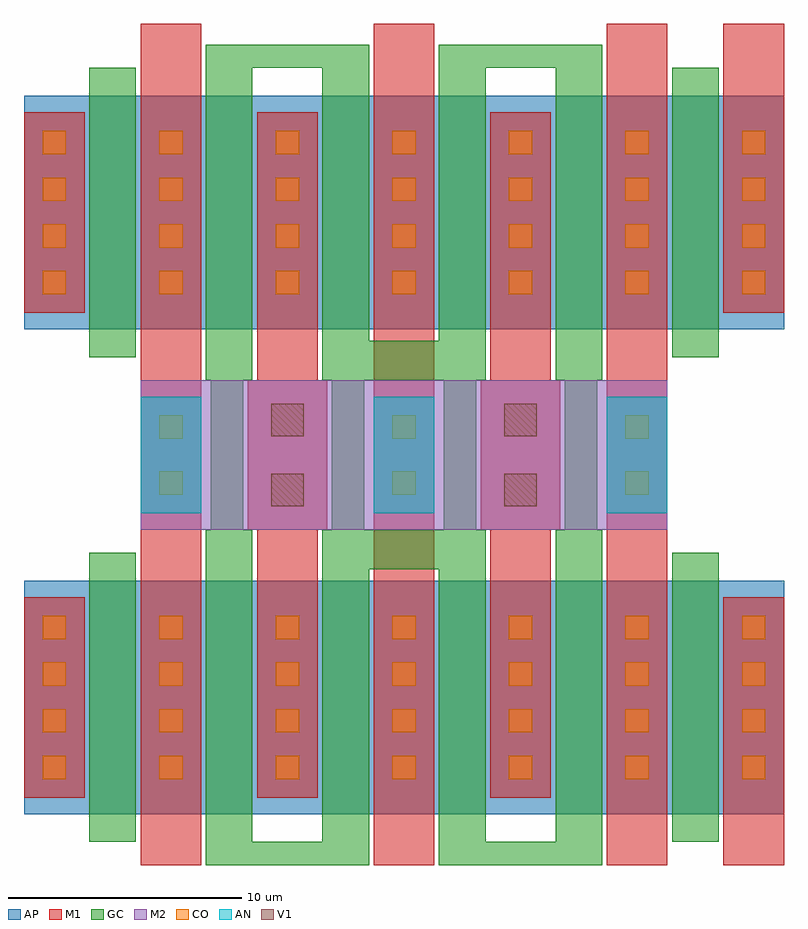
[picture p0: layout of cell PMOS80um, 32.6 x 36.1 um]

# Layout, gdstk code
from math import pi, radians
import gdstk
lib = gdstk.Library(unit=1e-6, precision=1e-09)
def R(c, l, rs):  # rectangles x0, y0, x1, y1
    for r in rs: c.add(gdstk.rectangle(r[:2], r[2:], *l))
def A(c, l, x, y, w, h, nx, ny, dx, dy):  # array of equal rectangles
    R(c, l, [(x+i*dx, y+j*dy, x+i*dx+w, y+j*dy+h) for i in range(nx) for j in range(ny)])
AP = (3, 1)
AN = (3, 2)
GC = (8, 1)
CO = (11, 0)
M1 = (13, 0)
V1 = (19, 0)
M2 = (20, 0)

fet_p_2 = lib.new_cell('fet_p$2')
R(fet_p_2, AP, [(-3.8,-5,3.8,5)])
A(fet_p_2, CO, -3, -3.5, 1, 1, 1, 4, 0, 2)
A(fet_p_2, CO, 2, -3.5, 1, 1, 1, 4, 0, 2)
R(fet_p_2, M1, [(-3.8,-4.3,-1.2,4.3), (1.2,-4.3,3.8,4.3)])
fet_p_2.add(gdstk.FlexPath([(0,-6.2),(0,6.2)], 2, ends="flush", simple_path=True, layer=8, datatype=1))  # GC

fet_p_2_1 = lib.new_cell('fet_p$2$1')
R(fet_p_2_1, AP, [(-3.8,-5,3.8,5)])
A(fet_p_2_1, CO, -3, -3.5, 1, 1, 1, 4, 0, 2)
A(fet_p_2_1, CO, 2, -3.5, 1, 1, 1, 4, 0, 2)
R(fet_p_2_1, M1, [(-3.8,-4.3,-1.2,4.3), (1.2,-4.3,3.8,4.3)])
fet_p_2_1.add(gdstk.FlexPath([(0,-6.2),(0,6.2)], 2, ends="flush", simple_path=True, layer=8, datatype=1))  # GC

fet_p = lib.new_cell('fet_p')
R(fet_p, AP, [(-11.3,-5,11.3,5)])
A(fet_p, CO, -10.5, -3.5, 1, 1, 5, 4, 5, 2)
A(fet_p, M1, -11.3, -4.3, 2.6, 8.6, 5, 1, 5, 0)
fet_p.add(gdstk.FlexPath([(2.5,-6.2),(2.5,6.2)], 2, ends="flush", simple_path=True, layer=8, datatype=1))  # GC
fet_p.add(gdstk.FlexPath([(-2.5,-6.2),(-2.5,6.2)], 2, ends="flush", simple_path=True, layer=8, datatype=1))  # GC
fet_p.add(gdstk.FlexPath([(7.5,-6.2),(7.5,6.2)], 2, ends="flush", simple_path=True, layer=8, datatype=1))  # GC
fet_p.add(gdstk.FlexPath([(-7.5,-6.2),(-7.5,6.2)], 2, ends="flush", simple_path=True, layer=8, datatype=1))  # GC

via_1_1 = lib.new_cell('via_1$1')
R(via_1_1, M1, [(-1.7,-1.7,1.7,1.7)])
R(via_1_1, V1, [(-0.7,-0.7,0.7,0.7)])
R(via_1_1, M2, [(-1.7,-1.7,1.7,1.7)])

cont_n = lib.new_cell('cont_n')
R(cont_n, AN, [(-1.3,-1.3,1.3,1.3)])
R(cont_n, CO, [(-0.5,-0.5,0.5,0.5)])
R(cont_n, M1, [(-1.3,-1.3,1.3,1.3)])

pmos80um = lib.new_cell('PMOS80um')
R(pmos80um, GC, [(-28.5,-17.6,-21.5,-16.6), (-18.5,-17.6,-11.5,-16.6), (-23.5,-4.9,-16.5,-3.2), (-28.5,-4.2,-26.5,-3.2), (-13.5,-4.2,-11.5,-3.2), (-28.5,3.2,-26.5,4.2), (-23.5,3.2,-16.5,4.9), (-13.5,3.2,-11.5,4.2), (-28.5,16.6,-21.5,17.6), (-18.5,16.6,-11.5,17.6)])
pmos80um.add(gdstk.FlexPath([(-12.4,-3.2),(-12.4,3.2),(-12.4,3.2)], 1.4, ends="flush", simple_path=True, layer=8, datatype=1))  # GC
pmos80um.add(gdstk.FlexPath([(-22.4,-3.2),(-22.4,3.2),(-22.4,3.2)], 1.4, ends="flush", simple_path=True, layer=8, datatype=1))  # GC
pmos80um.add(gdstk.FlexPath([(-17.6,-3.2),(-17.6,3.2),(-17.6,3.2)], 1.4, ends="flush", simple_path=True, layer=8, datatype=1))  # GC
pmos80um.add(gdstk.FlexPath([(-27.6,-3.2),(-27.6,3.2),(-27.6,3.2)], 1.4, ends="flush", simple_path=True, layer=8, datatype=1))  # GC
pmos80um.add(gdstk.FlexPath([(-30,-17.6),(-30,-14.7)], 2.6, ends="flush", simple_path=True, layer=13, datatype=0))  # M1
pmos80um.add(gdstk.FlexPath([(-30,18.5),(-30,14.7)], 2.6, ends="flush", simple_path=True, layer=13, datatype=0))  # M1
pmos80um.add(gdstk.FlexPath([(-5,-17.6),(-5,-14.7)], 2.6, ends="flush", simple_path=True, layer=13, datatype=0))  # M1
pmos80um.add(gdstk.FlexPath([(-10,-17.6),(-10,-14.7)], 2.6, ends="flush", simple_path=True, layer=13, datatype=0))  # M1
pmos80um.add(gdstk.FlexPath([(-10,18.5),(-10,14.7)], 2.6, ends="flush", simple_path=True, layer=13, datatype=0))  # M1
pmos80um.add(gdstk.FlexPath([(-5,-17.6),(-5,-14.7)], 2.6, ends="flush", simple_path=True, layer=13, datatype=0))  # M1
pmos80um.add(gdstk.FlexPath([(-5,18.5),(-5,14.7)], 2.6, ends="flush", simple_path=True, layer=13, datatype=0))  # M1
pmos80um.add(gdstk.FlexPath([(-10,-17.6),(-10,-14.7)], 2.6, ends="flush", simple_path=True, layer=13, datatype=0))  # M1
pmos80um.add(gdstk.FlexPath([(-30,-17.6),(-30,-14.7)], 2.6, ends="flush", simple_path=True, layer=13, datatype=0))  # M1
pmos80um.add(gdstk.FlexPath([(-20,-17.6),(-20,-14.7)], 2.6, ends="flush", simple_path=True, layer=13, datatype=0))  # M1
pmos80um.add(gdstk.FlexPath([(-10,-6.1),(-10,-2.5),(-10,-2.5)], 2.6, ends="flush", simple_path=True, layer=13, datatype=0))  # M1
pmos80um.add(gdstk.FlexPath([(-10,2.5),(-10,6.1)], 2.6, ends="flush", simple_path=True, layer=13, datatype=0))  # M1
pmos80um.add(gdstk.FlexPath([(-20,-6.1),(-20,-2.5),(-20,-2.5)], 2.6, ends="flush", simple_path=True, layer=13, datatype=0))  # M1
pmos80um.add(gdstk.FlexPath([(-20,2.5),(-20,6.1)], 2.6, ends="flush", simple_path=True, layer=13, datatype=0))  # M1
pmos80um.add(gdstk.FlexPath([(-30,-6.1),(-30,-2.5),(-30,-2.5)], 2.6, ends="flush", simple_path=True, layer=13, datatype=0))  # M1
pmos80um.add(gdstk.FlexPath([(-30,2.5),(-30,6.1)], 2.6, ends="flush", simple_path=True, layer=13, datatype=0))  # M1
pmos80um.add(gdstk.FlexPath([(-30,14.7),(-30,18.5)], 2.6, ends="flush", simple_path=True, layer=13, datatype=0))  # M1
pmos80um.add(gdstk.FlexPath([(-20,18.5),(-20,14.7)], 2.6, ends="flush", simple_path=True, layer=13, datatype=0))  # M1
pmos80um.add(gdstk.FlexPath([(-10,18.5),(-10,14.7)], 2.6, ends="flush", simple_path=True, layer=13, datatype=0))  # M1
pmos80um.add(gdstk.FlexPath([(-15,-6.1),(-15,-3.2)], 2.6, ends="flush", simple_path=True, layer=13, datatype=0))  # M1
pmos80um.add(gdstk.FlexPath([(-15,3.2),(-15,6.1)], 2.6, ends="flush", simple_path=True, layer=13, datatype=0))  # M1
pmos80um.add(gdstk.FlexPath([(-25,3.2),(-25,6.1)], 2.6, ends="flush", simple_path=True, layer=13, datatype=0))  # M1
pmos80um.add(gdstk.FlexPath([(-25,-6.1),(-25,-3.2)], 2.6, ends="flush", simple_path=True, layer=13, datatype=0))  # M1
pmos80um.add(gdstk.FlexPath([(-31.3,0),(-8.7,0)], 6.4, ends="flush", simple_path=True, layer=20, datatype=0))  # M2
pmos80um.add(gdstk.Reference(fet_p_2, (-32.5,10.4)))
pmos80um.add(gdstk.Reference(fet_p_2_1, (-7.5,10.4), rotation=pi, x_reflection=True))
pmos80um.add(gdstk.Reference(fet_p, (-20,10.4)))
pmos80um.add(gdstk.Reference(fet_p_2, (-32.5,-10.4), x_reflection=True))
pmos80um.add(gdstk.Reference(fet_p_2_1, (-7.5,-10.4), rotation=pi))
r = gdstk.Reference(via_1_1, (-25,1.5), x_reflection=True); r.repetition = gdstk.Repetition(2, 2, v1=(10,0), v2=(0,-3)); pmos80um.add(r)
pmos80um.add(gdstk.Reference(fet_p, (-20,-10.4), x_reflection=True))
r = gdstk.Reference(cont_n, (-10,-1.2)); r.repetition = gdstk.Repetition(1, 2, v1=(0,0), v2=(0,2.4)); pmos80um.add(r)
r = gdstk.Reference(cont_n, (-20,-1.2)); r.repetition = gdstk.Repetition(1, 2, v1=(0,0), v2=(0,2.4)); pmos80um.add(r)
r = gdstk.Reference(cont_n, (-30,-1.2)); r.repetition = gdstk.Repetition(1, 2, v1=(0,0), v2=(0,2.4)); pmos80um.add(r)

lib.write_gds('PMOS80um.gds')
